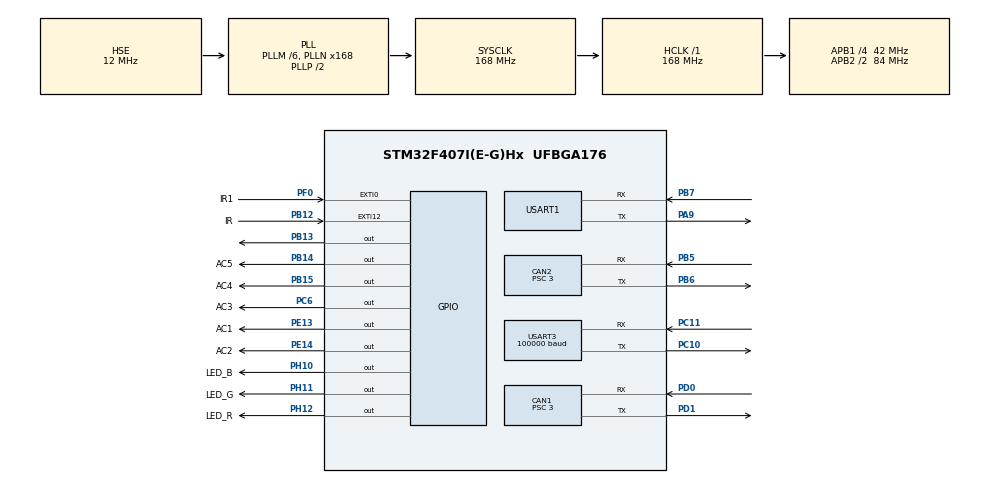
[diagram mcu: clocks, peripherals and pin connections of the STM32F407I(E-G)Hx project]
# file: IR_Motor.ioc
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CAN1.BS1=CAN_BS1_10TQ
CAN1.BS2=CAN_BS2_3TQ
CAN1.CalculateTimeQuantum=71.42857142857143
CAN1.Prescaler=3
CAN2.BS1=CAN_BS1_10TQ
CAN2.BS2=CAN_BS2_3TQ
CAN2.CalculateTimeQuantum=71.42857142857143
CAN2.Prescaler=3
Dma.Request0=USART3_RX
Dma.Request1=USART1_TX
Dma.USART1_TX.1.Direction=DMA_MEMORY_TO_PERIPH
Dma.USART1_TX.1.FIFOMode=DMA_FIFOMODE_DISABLE
Dma.USART1_TX.1.Instance=DMA2_Stream7
Dma.USART1_TX.1.MemDataAlignment=DMA_MDATAALIGN_BYTE
Dma.USART1_TX.1.MemInc=DMA_MINC_ENABLE
Dma.USART1_TX.1.Mode=DMA_NORMAL
Dma.USART1_TX.1.PeriphDataAlignment=DMA_PDATAALIGN_BYTE
Dma.USART1_TX.1.PeriphInc=DMA_PINC_DISABLE
Dma.USART1_TX.1.Priority=DMA_PRIORITY_VERY_HIGH
Dma.USART3_RX.0.Direction=DMA_PERIPH_TO_MEMORY
Dma.USART3_RX.0.FIFOMode=DMA_FIFOMODE_DISABLE
Dma.USART3_RX.0.Instance=DMA1_Stream1
Dma.USART3_RX.0.MemDataAlignment=DMA_MDATAALIGN_BYTE
Dma.USART3_RX.0.MemInc=DMA_MINC_ENABLE
Dma.USART3_RX.0.Mode=DMA_NORMAL
Dma.USART3_RX.0.PeriphDataAlignment=DMA_PDATAALIGN_BYTE
Dma.USART3_RX.0.PeriphInc=DMA_PINC_DISABLE
Dma.USART3_RX.0.Priority=DMA_PRIORITY_VERY_HIGH
Mcu.Family=STM32F4
Mcu.Name=STM32F407I(E-G)Hx
Mcu.Package=UFBGA176
NVIC.CAN1_RX0_IRQn=true\:0\:0\:false\:false\:true\:true\:true
NVIC.CAN2_RX0_IRQn=true\:0\:0\:false\:false\:true\:true\:true
NVIC.DMA1_Stream1_IRQn=true\:0\:0\:false\:false\:true\:false\:true
NVIC.DMA2_Stream7_IRQn=true\:0\:0\:false\:false\:true\:false\:true
NVIC.EXTI0_IRQn=true\:1\:0\:true\:false\:true\:true\:true
NVIC.EXTI15_10_IRQn=true\:1\:0\:true\:false\:true\:true\:true
NVIC.PriorityGroup=NVIC_PRIORITYGROUP_4
NVIC.USART1_IRQn=true\:0\:0\:false\:false\:true\:true\:true
NVIC.USART3_IRQn=true\:0\:0\:false\:false\:true\:true\:true
PA13.Mode=Serial_Wire
PA13.Signal=SYS_JTMS-SWDIO
PA14.Mode=Serial_Wire
PA14.Signal=SYS_JTCK-SWCLK
PA9.Mode=Asynchronous
PA9.Signal=USART1_TX
PB12.GPIO_Label=IR
PB12.GPIO_ModeDefaultEXTI=GPIO_MODE_IT_RISING_FALLING
PB12.GPIO_PuPd=GPIO_NOPULL
PB12.Signal=GPXTI12
PB13.GPIO_PuPd=GPIO_PULLDOWN
PB13.Signal=GPIO_Output
PB14.GPIO_Label=AC5
PB14.Signal=GPIO_Output
PB15.GPIO_Label=AC4
PB15.Signal=GPIO_Output
PB5.Mode=Slave
PB5.Signal=CAN2_RX
PB6.Mode=Slave
PB6.Signal=CAN2_TX
PB7.Mode=Asynchronous
PB7.Signal=USART1_RX
PC10.Mode=Asynchronous
PC10.Signal=USART3_TX
PC11.Mode=Asynchronous
PC11.Signal=USART3_RX
PC6.GPIO_Label=AC3
PC6.Signal=GPIO_Output
PD0.Mode=Master
PD0.Signal=CAN1_RX
PD1.Mode=Master
PD1.Signal=CAN1_TX
PE11.Signal=S_TIM1_CH2
PE13.GPIO_Label=AC1
PE13.Signal=GPIO_Output
PE14.GPIO_Label=AC2
PE14.Signal=GPIO_Output
PE9.Signal=S_TIM1_CH1
PF0.GPIO_Label=IR1
PF0.GPIO_ModeDefaultEXTI=GPIO_MODE_IT_RISING_FALLING
PF0.Signal=GPXTI0
PH0-OSC_IN.Mode=HSE-External-Oscillator
PH0-OSC_IN.Signal=RCC_OSC_IN
PH1-OSC_OUT.Mode=HSE-External-Oscillator
PH1-OSC_OUT.Signal=RCC_OSC_OUT
PH10.GPIO_Label=LED_B
PH10.Signal=GPIO_Output
PH11.GPIO_Label=LED_G
PH11.Signal=GPIO_Output
PH12.GPIO_Label=LED_R
PH12.Signal=GPIO_Output
ProjectManager.HeapSize=0x200
ProjectManager.StackSize=0x400
ProjectManager.TargetToolchain=MDK-ARM V5
RCC.48MHZClocksFreq_Value=84000000
RCC.AHBFreq_Value=168000000
RCC.APB1CLKDivider=RCC_HCLK_DIV4
RCC.APB1Freq_Value=42000000
RCC.APB1TimFreq_Value=84000000
RCC.APB2CLKDivider=RCC_HCLK_DIV2
RCC.APB2Freq_Value=84000000
RCC.APB2TimFreq_Value=168000000
RCC.CortexFreq_Value=168000000
RCC.HCLKFreq_Value=168000000
RCC.HSE_VALUE=12000000
RCC.HSI_VALUE=16000000
RCC.LSE_VALUE=32768
RCC.PLLM=6
RCC.PLLN=168
RCC.PLLSourceVirtual=RCC_PLLSOURCE_HSE
RCC.SYSCLKFreq_VALUE=168000000
RCC.SYSCLKSource=RCC_SYSCLKSOURCE_PLLCLK
RCC.VCOOutputFreq_Value=336000000
SH.S_TIM1_CH1.0=TIM1_CH1
SH.S_TIM1_CH2.0=TIM1_CH2
USART1.VirtualMode=VM_ASYNC
USART3.BaudRate=100000
USART3.Parity=PARITY_EVEN
USART3.VirtualMode=VM_ASYNC
board=custom

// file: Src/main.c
/* USER CODE BEGIN Header */
/**
  ******************************************************************************
  * @file           : main.c
  * @brief          : Main program body
  ******************************************************************************
  * @attention
  *
  * <h2><center>&copy; Copyright (c) 2019 STMicroelectronics.
  * All rights reserved.</center></h2>
  *
  * This software component is licensed by ST under BSD 3-Clause license,
  * the "License"; You may not use this file except in compliance with the
  * License. You may obtain a copy of the License at:
  *                        opensource.org/licenses/BSD-3-Clause
  *
  ******************************************************************************
  */
/* USER CODE END Header */
#include "main.h"
#include "can.h"
#include "dma.h"
#include "usart.h"
#include "gpio.h"

/* USER CODE BEGIN Includes */

#include "remote_control.h"
#include "CAN_receive.h"
#include "CAN_RotateAngle.h"
#include "bsp_can.h"
#include "bsp_usart.h"
#include <stdio.h>
#include <stdarg.h>
#include "string.h"
/* USER CODE END Includes */

void SystemClock_Config(void);

/* USER CODE BEGIN 0 */
const RC_ctrl_t *local_rc_ctrl;
int16_t speed;
int16_t s1;
int16_t s2;
int16_t j3;
int16_t cmd_add = 0;     //计数器可加状态（前伸机构不可执行状态）
int16_t cmd_auto = 0;    //后续自动程序不可执行状态
int16_t cmd_minus = 0;	 //出错减数器不可执行状态
int16_t cnt = 0;         //前伸机构计数器
int16_t box_status = 0;  //球盒状态为低

void DR16_initialize()
{
	s1 = local_rc_ctrl->rc.s[0];
	s2 = local_rc_ctrl->rc.s[1];
	j3 = local_rc_ctrl->rc.ch[3];
}

void Forward()
{
	DR16_initialize();
	if(s1 == 2)
	{
		if(j3 == -660 & cmd_add == 0 & cnt<4)
		{
			cnt = cnt + 1;
			cmd_add= 1; //计数器不可加状态（前伸机构可执行状态）
		}

		if(cmd_add == 1 & j3 == -660)
		{
			if(cnt == 1)
			{
				HAL_GPIO_WritePin(LED_R_GPIO_Port, LED_R_Pin, GPIO_PIN_SET);
				//HAL_GPIO_WritePin(AC1_GPIO_Port, AC1_Pin, GPIO_PIN_SET); //第一级气缸伸出
				//HAL_Delay(500);
				cmd_auto = 1; //后续自动程序可执行状态
			}
			if(cnt == 2)
			{
				HAL_GPIO_WritePin(LED_G_GPIO_Port, LED_G_Pin, GPIO_PIN_SET);
				//HAL_GPIO_WritePin(AC1_GPIO_Port, AC1_Pin, GPIO_PIN_SET); //第一级气缸伸出
				//HAL_Delay(500);
				//HAL_GPIO_WritePin(AC2_GPIO_Port, AC2_Pin, GPIO_PIN_SET); //第二级气缸伸出
				//HAL_Delay(500);
				cmd_auto = 1; //后续自动程序可执行状态
			}
			if( cnt == 3)
			{
				HAL_GPIO_WritePin(LED_B_GPIO_Port, LED_B_Pin, GPIO_PIN_SET);
				//HAL_GPIO_WritePin(AC1_GPIO_Port, AC1_Pin, GPIO_PIN_SET); //第一级气缸伸出
				//HAL_Delay(500);
				//HAL_GPIO_WritePin(AC2_GPIO_Port, AC2_Pin, GPIO_PIN_SET); //第二级气缸伸出
				//HAL_Delay(500);
				//HAL_GPIO_WritePin(AC3_GPIO_Port, AC3_Pin, GPIO_PIN_SET); //第三级气缸伸出
				//HAL_Delay(500);
				cmd_auto = 1; //后续自动程序可执行状态
			}
			if( cnt == 4)
			{
				HAL_GPIO_WritePin(LED_R_GPIO_Port, LED_R_Pin, GPIO_PIN_SET);
				HAL_GPIO_WritePin(LED_G_GPIO_Port, LED_G_Pin, GPIO_PIN_SET);
				//HAL_GPIO_WritePin(AC1_GPIO_Port, AC1_Pin, GPIO_PIN_SET); //第一级气缸伸出
				//HAL_Delay(500);
				//HAL_GPIO_WritePin(AC2_GPIO_Port, AC2_Pin, GPIO_PIN_SET); //第二级气缸伸出
				//HAL_Delay(500);
				//HAL_GPIO_WritePin(AC3_GPIO_Port, AC3_Pin, GPIO_PIN_SET); //第三级气缸伸出
				//HAL_Delay(500);
				//HAL_GPIO_WritePin(AC4_GPIO_Port, AC4_Pin, GPIO_PIN_SET); //第四级气缸伸出
				//HAL_Delay(500);
				cmd_auto = 1; //后续自动程序可执行状态
			}
		}
	}
}

void Backward()
{
	if(cnt == 1)
			{
				HAL_GPIO_WritePin(LED_R_GPIO_Port,LED_R_Pin,GPIO_PIN_RESET);
				//HAL_GPIO_WritePin(AC1_GPIO_Port, AC1_Pin, GPIO_PIN_RESET); //第一级气缸收回
				//HAL_Delay(500);
			}
			if(cnt ==2)
			{
				HAL_GPIO_WritePin(LED_G_GPIO_Port,LED_G_Pin,GPIO_PIN_RESET);
				//HAL_GPIO_WritePin(AC1_GPIO_Port, AC1_Pin, GPIO_PIN_RESET); //第一级气缸收回
				//HAL_Delay(500);
				//HAL_GPIO_WritePin(AC2_GPIO_Port, AC2_Pin, GPIO_PIN_RESET); //第二级气缸收回
				//HAL_Delay(500);
			}
			if(cnt ==3)
			{
				HAL_GPIO_WritePin(LED_B_GPIO_Port,LED_B_Pin,GPIO_PIN_RESET);
				//HAL_GPIO_WritePin(AC1_GPIO_Port, AC1_Pin, GPIO_PIN_RESET); //第一级气缸收回
				//HAL_Delay(500);
				//HAL_GPIO_WritePin(AC2_GPIO_Port, AC2_Pin, GPIO_PIN_RESET); //第二级气缸收回
				//HAL_Delay(500);
				//HAL_GPIO_WritePin(AC3_GPIO_Port, AC3_Pin, GPIO_PIN_RESET); //第三级气缸收回
				//HAL_Delay(500);
			}
			if(cnt ==4)
			{
				HAL_GPIO_WritePin(LED_R_GPIO_Port,LED_R_Pin,GPIO_PIN_RESET);
				HAL_GPIO_WritePin(LED_G_GPIO_Port,LED_G_Pin,GPIO_PIN_RESET);
				//HAL_GPIO_WritePin(AC1_GPIO_Port, AC1_Pin, GPIO_PIN_RESET); //第一级气缸收回
				//HAL_Delay(500);
				//HAL_GPIO_WritePin(AC2_GPIO_Port, AC2_Pin, GPIO_PIN_RESET); //第二级气缸收回
				//HAL_Delay(500);
				//HAL_GPIO_WritePin(AC3_GPIO_Port, AC3_Pin, GPIO_PIN_RESET); //第三级气缸收回
				//HAL_Delay(500);
				//HAL_GPIO_WritePin(AC4_GPIO_Port, AC4_Pin, GPIO_PIN_RESET); //第四级气缸收回
				//HAL_Delay(500);
			}

}

void Error_Backward()
{
	DR16_initialize();
	if(s2 == 3 & cmd_minus == 0)
	{
		cmd_minus = 1;
	}

	if(s2 == 2)
	{
		if(cmd_minus == 1 & cnt > 0)
		{
			cnt = cnt - 1;
			cmd_minus = 0; //出错减数器不可执行状态
			cmd_add = 0;	 //计数器可加状态
			cmd_auto = 0;  //后续程序不可执行状态
		}
	}
}

void Auto()
{
	s1 = local_rc_ctrl->rc.s[0];
	s2 = local_rc_ctrl->rc.s[1];
	j3 = local_rc_ctrl->rc.ch[3];

	if(s1 == 2)
	{
		if(j3 == 0 & cmd_auto == 1)
		{
			if(s2 == 2)
			{
				Backward();
			}
			if(s2 == 3)
			{
				HAL_GPIO_WritePin(LED_R_GPIO_Port,LED_R_Pin,GPIO_PIN_SET);
				HAL_GPIO_WritePin(LED_B_GPIO_Port,LED_B_Pin,GPIO_PIN_SET);
				HAL_Delay(1000);
	//			HAL_GPIO_WritePin(AC5_GPIO_Port, AC5_Pin, GPIO_PIN_SET); //夹爪气缸收缩
	//			HAL_Delay(500);
				//3508电机转动120°
				//2006电机开始转动
				//舵机锁住球门，舵机锁住中间盒子
				Backward();
				cmd_add = 0;
				cmd_auto = 0;
				HAL_GPIO_WritePin(LED_R_GPIO_Port,LED_R_Pin,GPIO_PIN_RESET);
				HAL_GPIO_WritePin(LED_B_GPIO_Port,LED_B_Pin,GPIO_PIN_RESET);
	//			HAL_GPIO_WritePin(AC5_GPIO_Port, AC5_Pin, GPIO_PIN_RESET); //夹爪气缸张开
	//			HAL_Delay(500);
				//3508转动
			}
		}
	}
}

void box_up()
{
	s1 = local_rc_ctrl->rc.s[0];
	s2 = local_rc_ctrl->rc.s[1];
	if(s1== 1 & box_status ==0)
	{
		//6020 up
		box_status = 1;
	}
}

void box_down()
{
	s1 = local_rc_ctrl->rc.s[0];
	s2 = local_rc_ctrl->rc.s[1];
	if(s1== 2 & box_status ==1)
	{
		//6020 down
		box_status = 0;
	}
}

 void usart_printf(const char *fmt,...)
{
    static uint8_t tx_buf[256] = {0};
    static va_list ap;
    static uint16_t len;
    va_start(ap, fmt);

    //return length of string
    //返回字符串长度
    len = vsprintf((char *)tx_buf, fmt, ap);
    va_end(ap);
    usart1_tx_dma_enable(tx_buf, len);
}

/* USER CODE END 0 */

int main(void)
{

  /* MCU Configuration--------------------------------------------------------*/

  /* Reset of all peripherals, Initializes the Flash interface and the Systick. */
  HAL_Init();

  /* Configure the system clock */
  SystemClock_Config();

  /* Initialize all configured peripherals */
  MX_GPIO_Init();
  MX_DMA_Init();
  MX_USART1_UART_Init();
  MX_USART3_UART_Init();
  MX_CAN1_Init();
  MX_CAN2_Init();
  /* USER CODE BEGIN 2 */
	can_filter_init();
	HAL_CAN_RxFifo0MsgPendingCallback(&hcan1);
	HAL_CAN_RxFifo0MsgPendingCallback(&hcan2);
  remote_control_init();
  usart1_tx_dma_init();
  local_rc_ctrl = get_remote_control_point();
  /* USER CODE END 2 */

  /* Infinite loop */
  /* USER CODE BEGIN WHILE */
//		HAL_GPIO_WritePin(GPIOB, GPIO_PIN_13, GPIO_PIN_RESET);
//		HAL_GPIO_WritePin(GPIOB, GPIO_PIN_13, GPIO_PIN_SET);
//		HAL_Delay(100);
//		HAL_GPIO_WritePin(GPIOB, GPIO_PIN_13, GPIO_PIN_RESET);
//		HAL_Delay(100);
//		HAL_GPIO_WritePin(GPIOB, GPIO_PIN_13, GPIO_PIN_SET);
//		HAL_Delay(200);
//		HAL_GPIO_WritePin(GPIOB, GPIO_PIN_13, GPIO_PIN_RESET);
//		HAL_Delay(100);
//		HAL_GPIO_WritePin(GPIOB, GPIO_PIN_13, GPIO_PIN_SET);
//		HAL_Delay(100);
//		HAL_GPIO_WritePin(GPIOB, GPIO_PIN_13, GPIO_PIN_RESET);

    /* USER CODE END WHILE */

    /* USER CODE BEGIN 3 */

//		box_down();
//		Forward();
//		Error_Backward();
//		Auto();
//		box_up();

//			speed = local_rc_ctrl->rc.ch[0] * 5;
//			CAN_cmd_gimbal(speed,speed,speed,speed);
//			CAN_cmd_chassis(speed,-speed,speed,speed);
//			HAL_Delay(1);

		M3508_SetAngle(+150);
		M3508_SetAngle(-150);

  /* USER CODE END 3 */
}

void SystemClock_Config(void)
{
  RCC_OscInitTypeDef RCC_OscInitStruct = {0};
  RCC_ClkInitTypeDef RCC_ClkInitStruct = {0};

  /** Configure the main internal regulator output voltage
  */
  __HAL_RCC_PWR_CLK_ENABLE();
  __HAL_PWR_VOLTAGESCALING_CONFIG(PWR_REGULATOR_VOLTAGE_SCALE1);
  /** Initializes the RCC Oscillators according to the specified parameters
  * in the RCC_OscInitTypeDef structure.
  */
  RCC_OscInitStruct.OscillatorType = RCC_OSCILLATORTYPE_HSE;
  RCC_OscInitStruct.HSEState = RCC_HSE_ON;
  RCC_OscInitStruct.PLL.PLLState = RCC_PLL_ON;
  RCC_OscInitStruct.PLL.PLLSource = RCC_PLLSOURCE_HSE;
  RCC_OscInitStruct.PLL.PLLM = 6;
  RCC_OscInitStruct.PLL.PLLN = 168;
  RCC_OscInitStruct.PLL.PLLP = RCC_PLLP_DIV2;
  RCC_OscInitStruct.PLL.PLLQ = 4;
  if (HAL_RCC_OscConfig(&RCC_OscInitStruct) != HAL_OK)
  {
    Error_Handler();
  }
  /** Initializes the CPU, AHB and APB buses clocks
  */
  RCC_ClkInitStruct.ClockType = RCC_CLOCKTYPE_HCLK|RCC_CLOCKTYPE_SYSCLK
                              |RCC_CLOCKTYPE_PCLK1|RCC_CLOCKTYPE_PCLK2;
  RCC_ClkInitStruct.SYSCLKSource = RCC_SYSCLKSOURCE_PLLCLK;
  RCC_ClkInitStruct.AHBCLKDivider = RCC_SYSCLK_DIV1;
  RCC_ClkInitStruct.APB1CLKDivider = RCC_HCLK_DIV4;
  RCC_ClkInitStruct.APB2CLKDivider = RCC_HCLK_DIV2;

  if (HAL_RCC_ClockConfig(&RCC_ClkInitStruct, FLASH_LATENCY_5) != HAL_OK)
  {
    Error_Handler();
  }
}

void Error_Handler(void)
{
}

/************************ (C) COPYRIGHT STMicroelectronics *****END OF FILE****/
